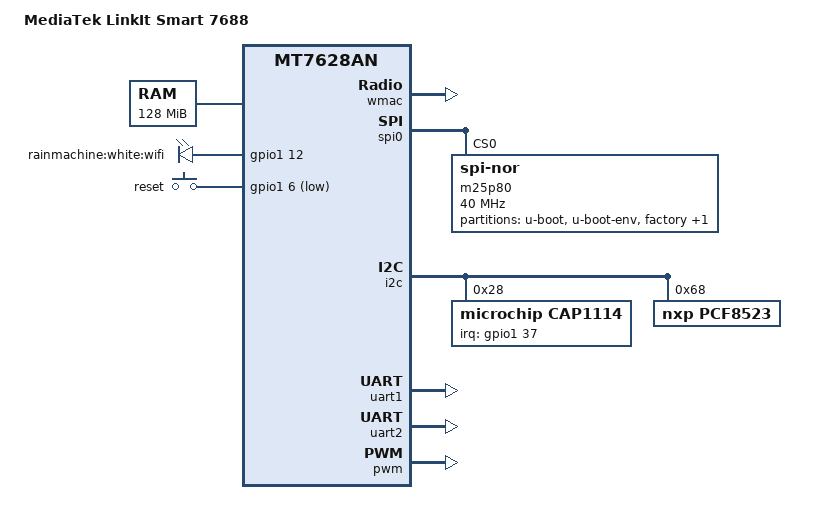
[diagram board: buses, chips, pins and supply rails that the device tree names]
/dts-v1/;

#include "mt7628an.dtsi"
#include <dt-bindings/input/input.h>

/ {
	compatible = "mediatek,linkit", "mediatek,mt7628an-soc";
	model = "MediaTek LinkIt Smart 7688";

	chosen {
		bootargs = "console=ttyS2,57600";
	};

	aliases {
		serial0 = &uart2;
	};

	memory@0 {
		device_type = "memory";
		reg = <0x0 0x8000000>;
	};

	bootstrap {
		compatible = "mediatek,linkit";

		status = "okay";
	};

	gpio-leds {
		compatible = "gpio-leds";

		wifi {
			label = "rainmachine:white:wifi";
			gpios = <&gpio1 12 0>;
			default-state = "on";
		};
	};

	gpio-keys-polled {
		compatible = "gpio-keys-polled";
		#address-cells = <1>;
		#size-cells = <0>;
		poll-interval = <20>;

		wps {
			label = "reset";
			gpios = <&gpio1 6 1>;
			linux,code = <0x211>;
		};
	};

	wgpio: gpio-wifi {
		compatible = "mediatek,gpio-wifi";
		#address-cells = <1>;
		#size-cells = <0>;
		gpio-controller;
		#gpio-cells = <2>;
	};

	rmvalves {
		compatible = "rmvalves";
	};
};

&pinctrl {
	state_default: pinctrl0 {
		gpio {
			ralink,group = "gpio";
			ralink,function = "gpio";
		};

		perst {
			ralink,group = "perst";
			ralink,function = "gpio";
		};

		refclk {
			ralink,group = "refclk";
			ralink,function = "gpio";
		};

		i2s {
			ralink,group = "i2s";
			ralink,function = "gpio";
		};

		spis {
			ralink,group = "spis";
			ralink,function = "gpio";
		};

		wled_kn {
			ralink,group = "wled_kn";
			ralink,function = "gpio";
		};

		wled_an {
			ralink,group = "wled_an";
			ralink,function = "wled_an";
		};

		wdt {
			ralink,group = "wdt";
			ralink,function = "gpio";
		};
	};
};

&wmac {
	status = "okay";
};

&spi0 {
	status = "okay";

	pinctrl-names = "default";
	pinctrl-0 = <&spi_pins>, <&spi_cs1_pins>;

	m25p80@0 {
		#address-cells = <1>;
		#size-cells = <1>;
		compatible = "jedec,spi-nor";
		reg = <0>;
		linux,modalias = "m25p80", "mx25l25635e";
		spi-max-frequency = <40000000>;
		m25p,chunked-io = <31>;

		partition@0 {
			label = "u-boot";
			reg = <0x0 0x30000>;
			read-only;
		};

		partition@30000 {
			label = "u-boot-env";
			reg = <0x30000 0x10000>;
		};

		factory: partition@40000 {
			label = "factory";
			reg = <0x40000 0x10000>;
			read-only;
		};

		partition@50000 {
			label = "firmware";
			reg = <0x50000 0x1fb0000>;
		};
	};
};

&i2c {
	status = "okay";

	cap1114@28 {
		compatible = "microchip,cap1114";
		interrupt-parent = <&gpio1>;
		interrupts = <37 0>;
		#interrupts = <29 0>;
		reg = <0x28>;
		autorepeat;
		microchip,sensor-gain = <2>;

		linux,keycodes = <100>,
				 <101>,
				 <102>,
				 <103>,
				 <104>,
				 <105>,
				 <106>,
				 <107>,
				 <108>,
				 <109>,
				 <110>,
				 <111>,
				 <112>,
				 <113>;

		#address-cells = <1>;
		#size-cells = <0>;

		up@0 {
			label = "cap11xx:white:up";
			reg = <0>;
		};

		down@1 {
			label = "cap11xx:white:down";
			reg = <1>;
		};

		sprinkler@2 {
			label = "cap11xx:white:sprinkler";
			reg = <2>;
		};

		home@3 {
			label = "cap11xx:white:home";
			reg = <3>;
		};

		wifi@4 {
			label = "cap11xx:white:wifi";
			reg = <4>;
		};
	};

	pcf8523@68 {
		compatible = "nxp,pcf8523";
		reg = <0x68>;
		status = "okay";
	};
};

&uart1 {
	status = "okay";
};

&uart2 {
	status = "okay";
};

&pwm {
	status = "okay";
};

&ethernet {
	mtd-mac-address = <&factory 0x28>;
};

&sdhci {
	mediatek,cd-high;
};

&wmac {
	status = "okay";
};
